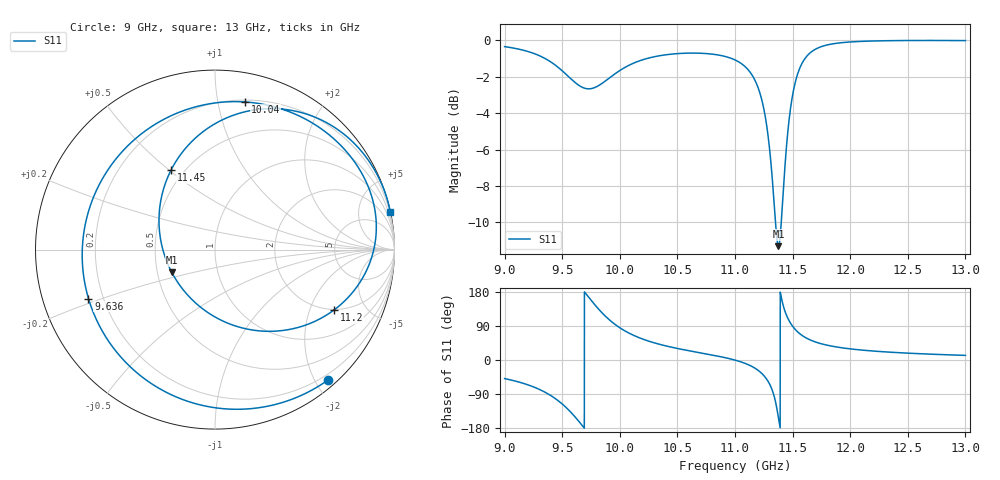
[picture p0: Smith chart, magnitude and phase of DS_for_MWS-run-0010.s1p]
! TOUCHSTONE file generated by CST DESIGN STUDIO
! Date and time: Tue Feb  4 18:41:48 2025
! Project name: C:\Work\MatlabApps\UnitCellOptimizationMatlab\CST\unitcell.cst
! Tree item: Tasks\Sweep1\SPara1\S-Parameters
! Header version: 2024
! Port assignment regex: !\s*Touchstone port\s*([0-9]+)\s*=\s*(CST MWS port|CST DES external port|CST DES block port)\s*(.+)\s* \(\"(.*)\"\)(\s*mode\s*([0-9]+))?.*
! Touchstone port assignment:
! Touchstone port 1 = CST DES external port 1 ("")
# GHz S MA R 50
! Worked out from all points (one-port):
!   4001 points, 9 GHz to 13 GHz, reference 50 ohm
!   lowest |S11| = -11.3 dB at 11.38 GHz (marker M1), VSWR 1.75, Z = 29.8 - j8.2 ohm
!   |S11| at or under -10 dB: 11.3516 GHz to 11.40147 GHz (49.88 MHz wide, 0.438 % of centre)
!   S11 on the Smith chart (normalised r, x): 9 GHz: 0.11, -2.19; 9.636 GHz: 0.14, -0.18; 10.04 GHz: 0.22, +1.20; 11.2 GHz: 1.97, -2.97; 11.45 GHz: 0.43, +0.51; 13 GHz: 0.06, +9.36
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9  0.9615 -49.0
9.262  0.9187 -72.4
9.397  0.8743 -93.1
9.5  0.8251 -116.1
9.636  0.7558 -158.8
9.728  0.7361 166.3
9.831  0.7564 129.2
9.91  0.7888 105.8
10  0.8265 85.1
10.035  0.8395 78.5
10.238  0.8922 51.1
10.5  0.9198 30.4
11  0.8838 -0.3
11.115  0.8299 -12.3
11.199  0.7438 -26.9
11.253  0.642 -42.0
11.305  0.4864 -66.4
11.341  0.3518 -96.8
11.377  0.2722 -152.1
11.411  0.3516 152.6
11.446  0.5073 118.8
11.5  0.7075 89.1
11.587  0.871 63.8
11.683  0.9396 49.2
11.813  0.9737 38.2
12  0.9901 29.4
12.5  0.9993 18.0
13  0.9987 12.2
